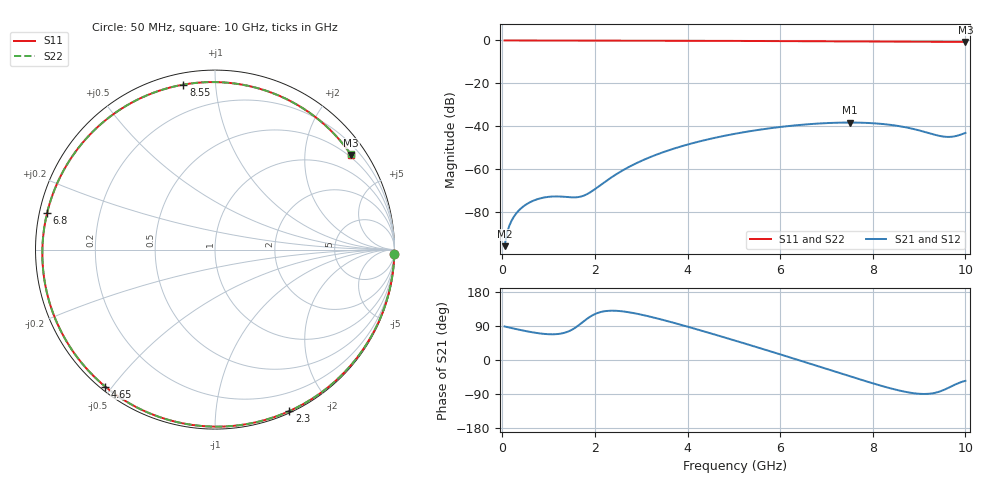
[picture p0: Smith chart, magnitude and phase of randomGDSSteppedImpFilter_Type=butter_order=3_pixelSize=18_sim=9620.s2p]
! freq	dB(S11)	phase(S11)	dB(S12)	phase(S12)
!  dB(S21)	phase(S21)	dB(S22)	phase(S22)
!S-par simulation data
#  GHz  S  DB  R 50
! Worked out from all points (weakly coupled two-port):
!   200 points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, 50 MHz to 10 GHz, reference 50 ohm
!   highest |S21| = -38.37 dB at 7.5 GHz (marker M1); lowest = -96.1 dB at 50 MHz (marker M2)
!   lowest |S11| = -0.7 dB at 10 GHz (marker M3), VSWR 25.22, Z = 21.8 + j157 ohm
!   |S11| at or under -10 dB: nowhere
!   |S22| runs from -0.7 to 0.0 dB; largest |S21 - S12| = 0
!   S11 on the Smith chart (normalised r, x): 50 MHz: 2, -78; 2.3 GHz: 0.02, -1.56; 4.65 GHz: 0.01, -0.48; 6.8 GHz: 0.02, +0.11; 8.55 GHz: 0.06, +0.82; 10 GHz: 0.44, +3.14
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0.05  -0.01 -1.5  -96.14 88.5  -96.14 88.5  -0.01 -1.5
0.3  -0.01 -8.7  -80.86 81.6  -80.86 81.6  -0.01 -8.7
0.6  -0.02 -17.4  -75.59 74.2  -75.59 74.2  -0.02 -17.4
0.9  -0.03 -26.0  -73.40 68.9  -73.40 68.9  -0.03 -26.0
1.75  -0.06 -50.0  -72.60 101.3  -72.60 101.3  -0.06 -50.0
2.3  -0.08 -65.2  -64.82 129.9  -64.82 129.9  -0.08 -65.2
2.8  -0.10 -78.9  -58.38 124.6  -58.38 124.6  -0.10 -78.9
3.4  -0.13 -95.1  -52.80 108.0  -52.80 108.0  -0.13 -95.0
4  -0.15 -111.2  -48.66 88.0  -48.66 88.0  -0.15 -111.1
4.65  -0.19 -128.7  -45.22 64.9  -45.22 64.9  -0.19 -128.7
5.05  -0.22 -139.7  -43.51 50.4  -43.51 50.4  -0.22 -139.7
5.9  -0.29 -164.1  -40.70 18.7  -40.70 18.7  -0.29 -164.0
6.7  -0.37 171.0  -39.01 -11.8  -39.01 -11.8  -0.37 171.1
6.8  -0.38 167.7  -38.87 -15.7  -38.87 -15.7  -0.38 167.8
7.5  -0.46 143.2  -38.37 -42.7  -38.37 -42.7  -0.46 143.3
7.9  -0.50 127.8  -38.56 -57.8  -38.56 -57.8  -0.50 128.0
8.35  -0.55 109.4  -39.36 -73.7  -39.36 -73.7  -0.55 109.6
8.55  -0.58 100.9  -39.97 -79.9  -39.97 -79.9  -0.57 101.1
8.9  -0.61 85.4  -41.48 -87.9  -41.48 -87.9  -0.61 85.6
9.25  -0.64 69.4  -43.54 -88.6  -43.54 -88.6  -0.64 69.7
9.65  -0.67 50.9  -45.08 -72.4  -45.08 -72.4  -0.67 51.1
10  -0.69 34.8  -43.21 -55.0  -43.21 -55.0  -0.69 35.0
